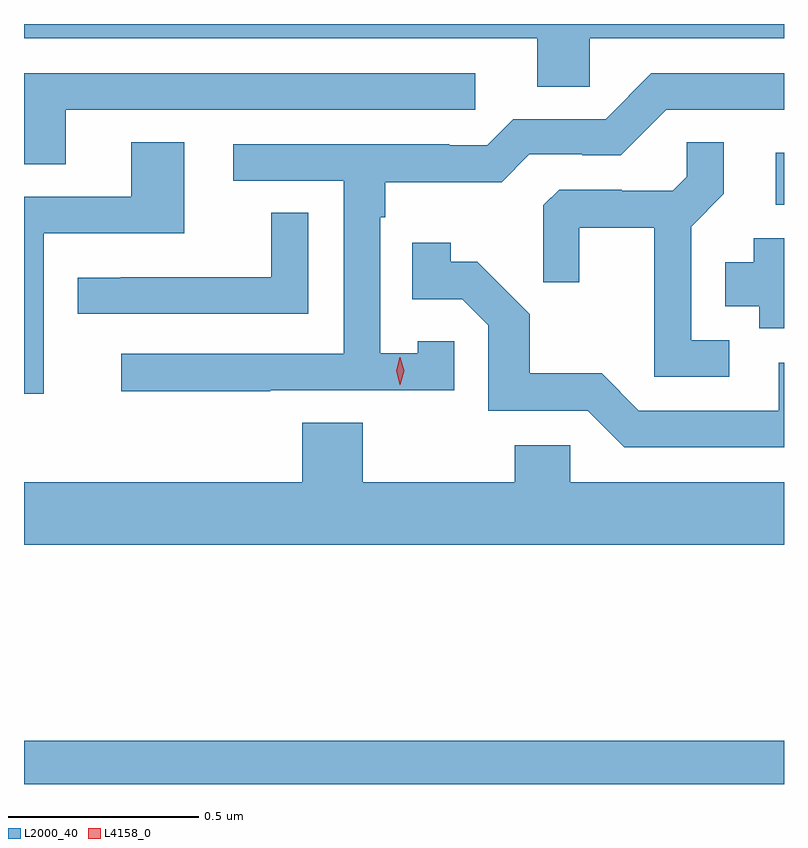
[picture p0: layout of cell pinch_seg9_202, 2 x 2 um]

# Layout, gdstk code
import gdstk
lib = gdstk.Library(unit=1e-6, precision=1e-09)
def R(c, l, rs):  # rectangles x0, y0, x1, y1
    for r in rs: c.add(gdstk.rectangle(r[:2], r[2:], *l))
def P(c, l, *ps):  # polygons
    for p in ps: c.add(gdstk.Polygon(p, *l))
L2000_40 = (2000, 40)
L4158_0 = (4158, 0)

pinch_seg9_202 = lib.new_cell('pinch_seg9_202')
R(pinch_seg9_202, L2000_40, [(555.899,1226.426,557.899,1226.54), (557.877,1227.951,557.899,1228.087)])
P(pinch_seg9_202, L2000_40, [(557.388,1228.388),(557.899,1228.388),(557.899,1228.426),(555.899,1228.426),(555.899,1228.388),(557.249,1228.388),(557.249,1228.261),(557.388,1228.261)],
  [(556.009,1228.2),(557.086,1228.2),(557.086,1228.296),(555.899,1228.296),(555.899,1228.057),(556.009,1228.057)],
  [(556.547,1227.462),(557.031,1227.462),(557.031,1227.591),(556.935,1227.591),(556.935,1227.559),(556.836,1227.559),(556.836,1227.917),(556.849,1227.917),(556.849,1228.01),(557.156,1228.01),(557.229,1228.083),(557.368,1228.083),(557.368,1228.08),(557.469,1228.08),(557.589,1228.2),(557.899,1228.2),(557.899,1228.296),(557.55,1228.296),(557.43,1228.176),(557.187,1228.176),(557.118,1228.107),(557.018,1228.107),(557.018,1228.11),(556.449,1228.11),(556.449,1228.014),(556.74,1228.014),(556.74,1227.558),(556.155,1227.558),(556.155,1227.46),(556.547,1227.46)],
  [(555.951,1227.876),(556.321,1227.876),(556.321,1228.115),(556.181,1228.115),(556.181,1227.972),(555.899,1227.972),(555.899,1227.453),(555.951,1227.453)],
  [(557.755,1227.594),(557.655,1227.594),(557.655,1227.893),(557.741,1227.979),(557.741,1228.115),(557.643,1228.115),(557.643,1228.024),(557.606,1227.987),(557.472,1227.987),(557.472,1227.99),(557.307,1227.99),(557.266,1227.949),(557.266,1227.747),(557.36,1227.747),(557.36,1227.89),(557.558,1227.89),(557.558,1227.498),(557.755,1227.498)],
  [(556.647,1227.929),(556.549,1227.929),(556.549,1227.759),(556.153,1227.759),(556.153,1227.758),(556.041,1227.758),(556.041,1227.663),(556.647,1227.663)],
  [(557.899,1227.862),(557.819,1227.862),(557.819,1227.799),(557.744,1227.799),(557.744,1227.683),(557.834,1227.683),(557.834,1227.626),(557.899,1227.626)],
  [(557.899,1227.534),(557.885,1227.534),(557.885,1227.408),(557.517,1227.408),(557.419,1227.507),(557.23,1227.507),(557.23,1227.662),(557.092,1227.8),(557.022,1227.8),(557.022,1227.85),(556.921,1227.85),(556.921,1227.702),(557.052,1227.702),(557.121,1227.633),(557.121,1227.408),(557.382,1227.408),(557.478,1227.312),(557.899,1227.312)],
  [(557.899,1227.22),(557.337,1227.22),(557.337,1227.318),(557.191,1227.318),(557.191,1227.22),(556.791,1227.22),(556.791,1227.377),(556.631,1227.377),(556.631,1227.22),(555.899,1227.22),(555.899,1227.056),(557.899,1227.056)])
P(pinch_seg9_202, L4158_0, [(556.888,1227.477),(556.879,1227.513),(556.888,1227.549),(556.889,1227.549),(556.889,1227.549),(556.899,1227.513),(556.889,1227.477),(556.889,1227.477)])

lib.write_gds('pinch_seg9_202.gds')
